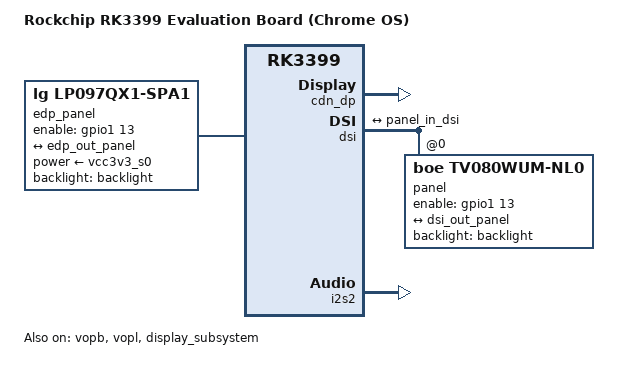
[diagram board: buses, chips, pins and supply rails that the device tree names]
// SPDX-License-Identifier: (GPL-2.0+ OR MIT)
/*
 * Copyright (c) 2022 Rockchip Electronics Co., Ltd.
 *
 */

/ {
	model = "Rockchip RK3399 Evaluation Board (Chrome OS)";
	compatible = "google,rk3399evb", "rockchip,rk3399-evb", "rockchip,rk3399";

	edp_panel: edp-panel {
		compatible = "lg,lp097qx1-spa1", "panel-simple";
		backlight = <&backlight>;
		power-supply = <&vcc3v3_s0>;
		enable-gpios = <&gpio1 13 GPIO_ACTIVE_HIGH>;

		ports {
			panel_in_edp: endpoint {
				remote-endpoint = <&edp_out_panel>;
			};
		};
	};

	hdmi_codec: hdmi-codec {
		compatible = "simple-audio-card";
		simple-audio-card,format = "i2s";
		simple-audio-card,mclk-fs = <256>;
		simple-audio-card,name = "HDMI-CODEC";

		simple-audio-card,cpu {
			sound-dai = <&i2s2>;
		};

		simple-audio-card,codec {
			sound-dai = <&hdmi>;
		};
	};

	sound {
		compatible = "rockchip,cdndp-sound";
		rockchip,cpu = <&i2s2>;
		rockchip,codec = <&cdn_dp>;
	};
};

&cdn_dp {
	status = "okay";
	extcon = <&fusb0>, <&fusb1>;

	ports {
		/* Don't use vopl for dp, save it for edp */
		dp_in: port {
			/delete-node/ endpoint@1;
		};
	};
};

&dsi {
	status = "okay";

	panel@0 {
		compatible ="boe,tv080wum-nl0";
		reg = <0>;
		backlight = <&backlight>;
		enable-gpios = <&gpio1 13 GPIO_ACTIVE_HIGH>;

		ports {
			#address-cells = <1>;
			#size-cells = <0>;

			port@0 {
				reg = <0>;
				panel_in_dsi: endpoint {
					remote-endpoint = <&dsi_out_panel>;
				};
			};
		};
	};

	ports {
		#address-cells = <1>;
		#size-cells = <0>;

		port@1 {
			reg = <1>;
			dsi_out_panel: endpoint {
				remote-endpoint = <&panel_in_dsi>;
			};
		};
	};
};

&edp {
	status = "disabled";

	ports {
		edp_out: port@1 {
			reg = <1>;
			#address-cells = <1>;
			#size-cells = <0>;

			edp_out_panel: endpoint@0 {
				reg = <0>;
				remote-endpoint = <&panel_in_edp>;
			};
		};
	};
};

&hdmi {
	#address-cells = <1>;
	#size-cells = <0>;
	#sound-dai-cells = <0>;
	status = "disabled";
};

&i2s2 {
	#sound-dai-cells = <0>;
	status = "okay";
};

&vopb {
	status = "okay";
};

&vopb_mmu {
	status = "okay";
};

&vopl {
	status = "okay";

	/* Don't use vopl for dp, save it for edp */
	vopl_out: port {
		/delete-node/ endpoint@3;
	};
};

&vopl_mmu {
	status = "okay";
};

&display_subsystem {
	status = "okay";
};
